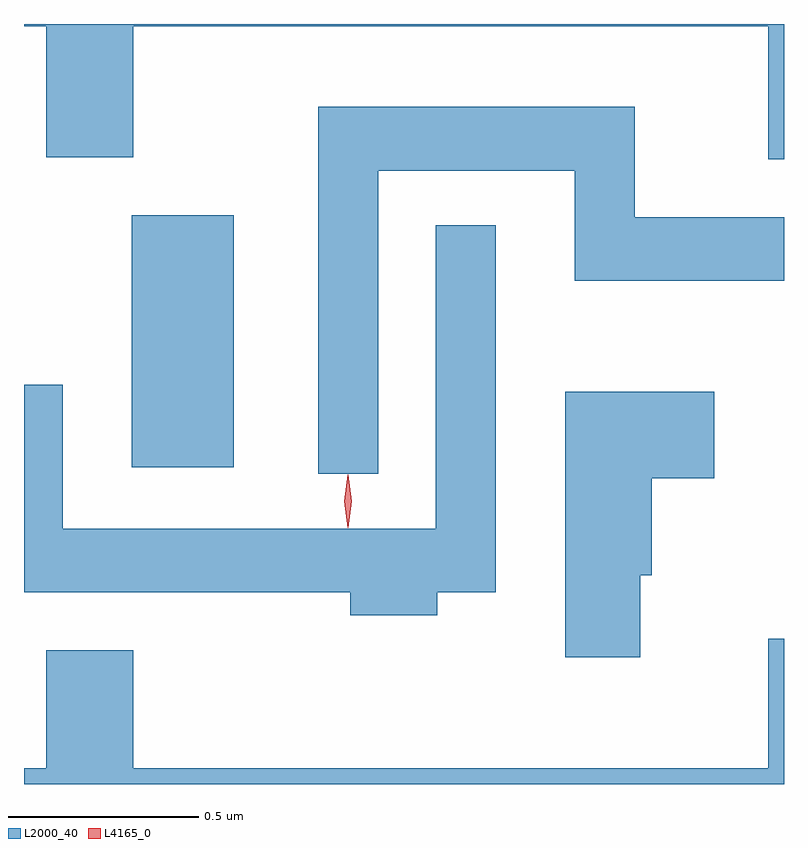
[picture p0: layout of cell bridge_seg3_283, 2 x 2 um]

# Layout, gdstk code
import gdstk
lib = gdstk.Library(unit=1e-6, precision=1e-09)
def R(c, l, rs):  # rectangles x0, y0, x1, y1
    for r in rs: c.add(gdstk.rectangle(r[:2], r[2:], *l))
def P(c, l, *ps):  # polygons
    for p in ps: c.add(gdstk.Polygon(p, *l))
L2000_40 = (2000, 40)
L4165_0 = (4165, 0)

bridge_seg3_283 = lib.new_cell('bridge_seg3_283')
R(bridge_seg3_283, L2000_40, [(1038.146,1140.396,1038.414,1141.059)])
P(bridge_seg3_283, L2000_40, [(1039.862,1141.562),(1037.862,1141.562),(1037.862,1141.556),(1037.921,1141.556),(1037.921,1141.211),(1038.149,1141.211),(1038.149,1141.556),(1039.821,1141.556),(1039.821,1141.206),(1039.862,1141.206)],
  [(1038.794,1141.176),(1039.311,1141.176),(1039.311,1140.886),(1039.862,1140.886),(1039.862,1141.054),(1039.469,1141.054),(1039.469,1141.344),(1038.636,1141.344),(1038.636,1140.378),(1038.794,1140.378)],
  [(1038.949,1140.066),(1039.104,1140.066),(1039.104,1141.033),(1038.946,1141.033),(1038.946,1140.234),(1037.964,1140.234),(1037.964,1140.613),(1037.862,1140.613),(1037.862,1140.066),(1038.721,1140.066),(1038.721,1140.006),(1038.949,1140.006)],
  [(1039.484,1140.111),(1039.514,1140.111),(1039.514,1140.366),(1039.679,1140.366),(1039.679,1140.594),(1039.286,1140.594),(1039.286,1139.896),(1039.484,1139.896)],
  [(1039.862,1139.944),(1039.821,1139.944),(1039.821,1139.604),(1038.149,1139.604),(1038.149,1139.914),(1037.921,1139.914),(1037.921,1139.604),(1037.862,1139.604),(1037.862,1139.562),(1039.862,1139.562)])
P(bridge_seg3_283, L4165_0, [(1038.715,1140.239),(1038.714,1140.24),(1038.705,1140.306),(1038.714,1140.372),(1038.715,1140.373),(1038.715,1140.372),(1038.725,1140.306),(1038.715,1140.24)],
  [(1038.714,1140.237),(1038.705,1140.306),(1038.714,1140.376),(1038.715,1140.376),(1038.715,1140.376),(1038.725,1140.306),(1038.715,1140.237),(1038.715,1140.237)])

lib.write_gds('bridge_seg3_283.gds')
